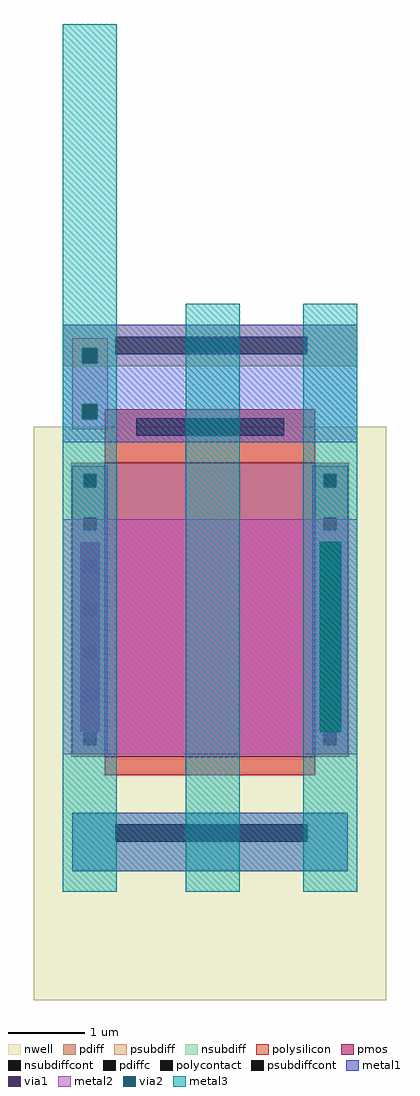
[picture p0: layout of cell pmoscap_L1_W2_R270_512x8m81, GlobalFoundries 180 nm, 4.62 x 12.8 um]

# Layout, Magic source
magic
tech gf180mcuD
magscale 1 10
<< nwell >>
rect -42 -284 881 1219
<< pmos >>
rect 144 354 695 1124
<< pdiff >>
rect 56 1094 144 1124
rect 56 1061 88 1094
rect 121 1061 144 1094
rect 56 981 144 1061
rect 56 949 88 981
rect 121 949 144 981
rect 56 869 144 949
rect 56 837 88 869
rect 121 837 144 869
rect 56 757 144 837
rect 56 725 88 757
rect 121 725 144 757
rect 56 644 144 725
rect 56 612 88 644
rect 121 612 144 644
rect 56 531 144 612
rect 56 499 88 531
rect 121 499 144 531
rect 56 417 144 499
rect 56 385 88 417
rect 121 385 144 417
rect 56 354 144 385
rect 695 1094 783 1124
rect 695 1061 718 1094
rect 751 1061 783 1094
rect 695 981 783 1061
rect 695 949 718 981
rect 751 949 783 981
rect 695 869 783 949
rect 695 837 718 869
rect 751 837 783 869
rect 695 757 783 837
rect 695 725 718 757
rect 751 725 783 757
rect 695 644 783 725
rect 695 612 718 644
rect 751 612 783 644
rect 695 531 783 612
rect 695 499 718 531
rect 751 499 783 531
rect 695 417 783 499
rect 695 385 718 417
rect 751 385 783 417
rect 695 354 783 385
<< pdiffc >>
rect 88 1061 121 1094
rect 88 949 121 981
rect 88 837 121 869
rect 88 725 121 757
rect 88 612 121 644
rect 88 499 121 531
rect 88 385 121 417
rect 718 1061 751 1094
rect 718 949 751 981
rect 718 837 751 869
rect 718 725 751 757
rect 718 612 751 644
rect 718 499 751 531
rect 718 385 751 417
<< psubdiff >>
rect 34 1378 805 1486
<< nsubdiff >>
rect 58 54 781 207
<< polysilicon >>
rect 144 1124 695 1265
rect 144 305 695 354
<< metal1 >>
rect 34 1424 805 1486
rect 34 1388 86 1424
rect 123 1388 805 1424
rect 34 1276 805 1388
rect 34 1240 86 1276
rect 123 1240 805 1276
rect 34 1178 805 1240
rect 58 1094 151 1117
rect 58 1061 88 1094
rect 121 1061 151 1094
rect 58 981 151 1061
rect 58 949 88 981
rect 121 949 151 981
rect 58 869 151 949
rect 58 837 88 869
rect 121 837 151 869
rect 58 757 151 837
rect 58 725 88 757
rect 121 725 151 757
rect 58 644 151 725
rect 58 612 88 644
rect 121 612 151 644
rect 58 531 151 612
rect 58 499 88 531
rect 121 499 151 531
rect 58 417 151 499
rect 58 385 88 417
rect 121 385 151 417
rect 58 360 151 385
rect 688 1094 781 1117
rect 688 1061 718 1094
rect 751 1061 781 1094
rect 688 981 781 1061
rect 688 949 718 981
rect 751 949 781 981
rect 688 869 781 949
rect 688 837 718 869
rect 751 837 781 869
rect 688 757 781 837
rect 688 725 718 757
rect 751 725 781 757
rect 688 644 781 725
rect 688 612 718 644
rect 751 612 781 644
rect 688 531 781 612
rect 688 499 718 531
rect 751 499 781 531
rect 688 417 781 499
rect 688 385 718 417
rect 751 385 781 417
rect 688 360 781 385
rect 58 54 781 207
<< via1 >>
rect 86 1388 123 1424
rect 86 1240 123 1276
<< metal2 >>
rect 58 1425 151 1451
rect 58 1386 85 1425
rect 124 1386 151 1425
rect 58 1278 151 1386
rect 58 1239 85 1278
rect 124 1239 151 1278
rect 58 1213 151 1239
rect 34 360 805 976
<< via2 >>
rect 85 1424 124 1425
rect 85 1388 86 1424
rect 86 1388 123 1424
rect 123 1388 124 1424
rect 85 1386 124 1388
rect 85 1276 124 1278
rect 85 1240 86 1276
rect 86 1240 123 1276
rect 123 1240 124 1276
rect 85 1239 124 1240
<< metal3 >>
rect 34 1425 175 2275
rect 34 1386 85 1425
rect 124 1386 175 1425
rect 34 1278 175 1386
rect 34 1239 85 1278
rect 124 1239 175 1278
rect 34 0 175 1239
rect 356 0 497 1542
rect 664 0 805 1542
use M1_NACTIVE_01_R270_512x8m81  M1_NACTIVE_01_R270_512x8m81_0
transform 1 0 423 0 1 154
box -284 -54 284 53
use M1_PACTIVE_R270_512x8m81  M1_PACTIVE_R270_512x8m81_0
transform 1 0 423 0 1 1432
box -284 -54 284 53
use M1_POLY2_01_R270_512x8m81  M1_POLY2_01_R270_512x8m81_0
transform 1 0 420 0 1 1218
box -240 -46 240 46
use M2_M1$04_R270_512x8m81  M2_M1$04_R270_512x8m81_0
transform 1 0 105 0 1 668
box -46 -266 46 266
use M2_M1$04_R270_512x8m81  M2_M1$04_R270_512x8m81_1
transform 1 0 735 0 1 668
box -46 -266 46 266
use M3_M2$01_R270_512x8m81  M3_M2$01_R270_512x8m81_0
transform 1 0 735 0 1 668
box -46 -266 46 266
<< end >>

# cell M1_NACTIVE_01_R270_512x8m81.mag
magic
tech gf180mcuD
magscale 1 10
<< nsubdiff >>
rect -284 23 284 53
rect -284 -23 -252 23
rect 252 -23 284 23
rect -284 -54 284 -23
<< nsubdiffcont >>
rect -252 -23 252 23
<< metal1 >>
rect -270 23 270 40
rect -270 -23 -252 23
rect 252 -23 270 23
rect -270 -40 270 -23
<< end >>

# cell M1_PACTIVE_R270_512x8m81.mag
magic
tech gf180mcuD
magscale 1 10
<< psubdiff >>
rect -284 23 284 53
rect -284 -23 -252 23
rect 252 -23 284 23
rect -284 -54 284 -23
<< psubdiffcont >>
rect -252 -23 252 23
<< metal1 >>
rect -270 23 270 40
rect -270 -23 -252 23
rect 252 -23 270 23
rect -270 -40 270 -23
<< end >>

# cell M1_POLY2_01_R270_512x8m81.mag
magic
tech gf180mcuD
magscale 1 10
<< polysilicon >>
rect -240 23 240 46
rect -240 -23 -194 23
rect 194 -23 240 23
rect -240 -46 240 -23
<< polycontact >>
rect -194 -23 194 23
<< metal1 >>
rect -213 23 213 40
rect -213 -23 -194 23
rect 194 -23 213 23
rect -213 -39 213 -23
<< end >>

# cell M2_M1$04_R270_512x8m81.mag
magic
tech gf180mcuD
magscale 1 5
<< metal1 >>
rect -23 124 23 133
rect -23 -124 -13 124
rect 13 -124 23 124
rect -23 -133 23 -124
<< via1 >>
rect -13 -124 13 124
<< metal2 >>
rect -23 124 23 133
rect -23 -124 -13 124
rect 13 -124 23 124
rect -23 -133 23 -124
<< end >>

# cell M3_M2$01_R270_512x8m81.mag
magic
tech gf180mcuD
magscale 1 5
<< metal2 >>
rect -23 125 23 133
rect -23 -125 -14 125
rect 14 -125 23 125
rect -23 -133 23 -125
<< via2 >>
rect -14 -125 14 125
<< metal3 >>
rect -23 125 23 133
rect -23 -125 -14 125
rect 14 -125 23 125
rect -23 -133 23 -125
<< end >>
